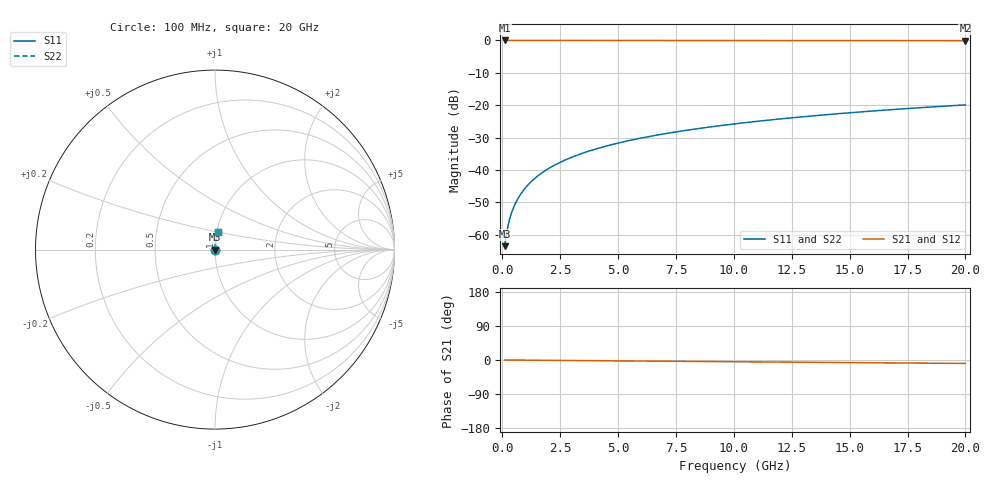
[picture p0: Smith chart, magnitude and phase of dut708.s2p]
! Touchstone file exported from HFSS 2026.1.0
!  File:  C:/ffzhzh/LocalFiles/Ansys_Project_Files/temp_train_TSV_708_1783181957_18472.aedt
!  Generated:  12:21:19 AM Jul  5, 2026
!  Design:  TSV
!  Project:  temp_train_TSV_708_1783181957_18472
! Variables:
!  h_bsmrdl = 2um
!  h_ox = 20um
!  h_rdl = 5um
!  h_sub = 60.57um
!  h_tmrdl = 5um
!  h_tsv = 60.57um
!  h_via = 3um
!  l_bsmrdl = 300um
!  l_sub = 408.8um
!  l_tmrdl = 200um
!  m_sub = 200um
!  pitch = 57.88um
!  r_tsv = 4.4um
!  s_tmrdl = 10um
!  w_bsmrdl = 18um
!  w_sub = 500um
!  w_tmrdl = 12um
!  x_tsv_center1 = 206um
!  x_tsv_center2 = 524um
!  x_tsv_center3 = 736um
!  x_tsv_center4 = 1054um
!  x_tsv_center5 = 1266um
!  x_tsv_center6 = 1584um
# GHz S MA R 50.000000
! Terminal data exported
! Port[1] = TSV1_1_T1
! Port[2] = TSV1_1_T2
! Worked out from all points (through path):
!   200 points, 100 MHz to 20 GHz, reference 50 ohm
!   highest |S21| = 0.00 dB at 100 MHz (marker M1); lowest = -0.1 dB at 20 GHz (marker M2)
!   group delay of S21, straight-line fit = 1.26 ps
!   lowest |S11| = -63.5 dB at 100 MHz (marker M3), VSWR 1.00, Z = 50 + j0.0543 ohm
!   |S11| at or under -10 dB: start of sweep to end of sweep
!   |S22| runs from -63.5 to -19.9 dB; largest |S21 - S12| = 4.7e-15
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0.1  0.0006685 54.2  0.9996 -0.0  0.9996 -0.0  0.0006685 54.2
! Gamma 0 0 0 0
! Port Impedance 50 0 50 0
0.2  0.001153 69.6  0.9996 -0.1  0.9996 -0.1  0.001153 69.6
0.3  0.001667 75.6  0.9996 -0.1  0.9996 -0.1  0.001667 75.6
0.4  0.002188 78.7  0.9996 -0.2  0.9996 -0.2  0.002188 78.7
0.5  0.002709 80.6  0.9996 -0.2  0.9996 -0.2  0.002709 80.6
0.7  0.003754 82.8  0.9995 -0.3  0.9995 -0.3  0.003754 82.8
0.8  0.004276 83.5  0.9995 -0.4  0.9995 -0.4  0.004276 83.5
1  0.005323 84.4  0.9995 -0.5  0.9995 -0.5  0.005323 84.4
1.2  0.00637 85.0  0.9995 -0.6  0.9995 -0.6  0.00637 85.0
1.4  0.007417 85.5  0.9995 -0.7  0.9995 -0.7  0.007417 85.5
1.7  0.008987 85.8  0.9994 -0.8  0.9994 -0.8  0.008987 85.8
2  0.01055 86.0  0.9994 -0.9  0.9994 -0.9  0.01055 86.0
2.7  0.0142 86.2  0.9993 -1.3  0.9993 -1.3  0.0142 86.2
3.5  0.01835 86.1  0.9991 -1.6  0.9991 -1.6  0.01835 86.1
4.2  0.02195 86.0  0.999 -1.9  0.999 -1.9  0.02195 86.0
5  0.02606 85.7  0.9988 -2.3  0.9988 -2.3  0.02606 85.7
6.8  0.03523 85.1  0.9983 -3.1  0.9983 -3.1  0.03523 85.1
8.3  0.04284 84.6  0.9979 -3.8  0.9979 -3.8  0.04284 84.6
10.1  0.05193 83.9  0.9973 -4.6  0.9973 -4.6  0.05193 83.9
13.4  0.06852 82.6  0.9961 -6.1  0.9961 -6.1  0.06852 82.6
16.7  0.085 81.3  0.9947 -7.6  0.9947 -7.6  0.085 81.3
20  0.1013 79.9  0.993 -9.1  0.993 -9.1  0.1013 79.9
